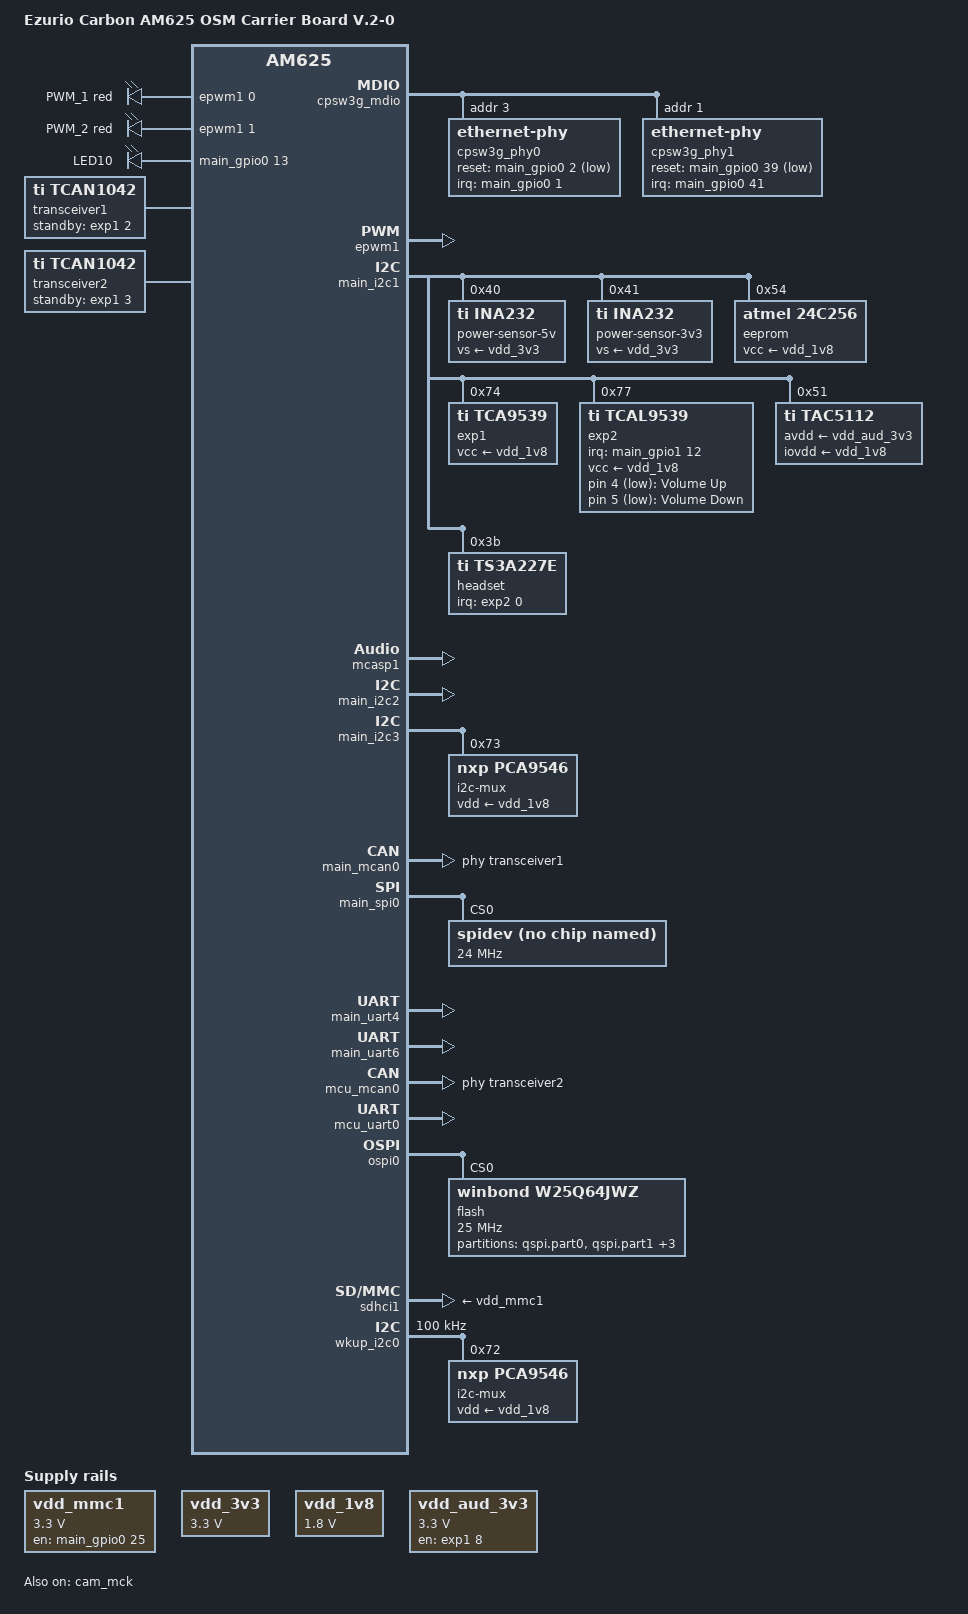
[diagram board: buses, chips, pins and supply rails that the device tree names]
// SPDX-License-Identifier: GPL-2.0-or-later OR MIT
/*
 * Copyright 2024 Ezurio LLC
 *
 */

/dts-v1/;

#include <dt-bindings/leds/common.h>
#include <dt-bindings/input/linux-event-codes.h>
#include <dt-bindings/interrupt-controller/irq.h>
#include "k3-am625-carbon-som.dtsi"

/ {
	model = "Ezurio Carbon AM625 OSM Carrier Board V.2-0";
	compatible = "ezurio,am62-dev",
		     "ti,am625";

	vdd_mmc1: regulator-sdio-a {
		bootph-all;
		compatible = "regulator-fixed";
		pinctrl-names = "default";
		pinctrl-0 = <&main_vdd_sdio_a_gpio>;
		regulator-name = "vdd_mmc1";
		regulator-min-microvolt = <3300000>;
		regulator-max-microvolt = <3300000>;
		startup-delay-us = <100000>;
		regulator-boot-on;
		enable-active-high;
		gpio = <&main_gpio0 25 GPIO_ACTIVE_HIGH>;
	};

	vdd_3v3: regulator-u4-sw2 {
		/* output of U4 */
		bootph-all;
		compatible = "regulator-fixed";
		regulator-name = "vdd_3v3";
		regulator-min-microvolt = <3300000>;
		regulator-max-microvolt = <3300000>;
		regulator-always-on;
		regulator-boot-on;
	};

	vdd_1v8: regulator-u4-sw3 {
		/* output of U4 */
		bootph-all;
		compatible = "regulator-fixed";
		regulator-name = "vdd_1v8";
		regulator-min-microvolt = <1800000>;
		regulator-max-microvolt = <1800000>;
		regulator-always-on;
		regulator-boot-on;
	};

	vdd_aud_3v3: regulator-aud-pwr {
		compatible = "regulator-fixed";
		regulator-name = "vdd_aud_3v3";
		regulator-min-microvolt = <3300000>;
		regulator-max-microvolt = <3300000>;
		enable-active-high;
		gpio = <&exp1 8 GPIO_ACTIVE_HIGH>;
	};

	codec_audio: sound {
		compatible = "simple-audio-card";
		status = "okay";

		simple-audio-card,bitclock-master = <&dailink0_master>;
		simple-audio-card,frame-master = <&dailink0_master>;

		simple-audio-card,name = "ti,tac5x1x-soundcard";
		simple-audio-card,format = "i2s";

		simple-audio-card,widgets =
			"Headphone", "Headphone Jack",
			"Line",      "Line In",
			"Line",      "Line Out";

		simple-audio-card,routing =
			"Headphone Jack", "OUT1",
			"Headphone Jack", "OUT2",
			"AIN1", "Line In",
			"AIN2", "Line In",
			"Line Out", "OUT1",
			"Line Out", "OUT2";

		simple-audio-card,aux-devs = <&headset>;

		dailink0_master: simple-audio-card,cpu {
			sound-dai = <&mcasp1>;
			bitclock-master;
			frame-master;
			system-clock-direction-out;
		};

		simple-audio-card,codec {
			sound-dai = <&tac5112>;
		};
	};

	audio_volume {
		compatible = "gpio-keys";

		volume-up {
			label = "Volume Up";
			gpios = <&exp2 4 (GPIO_ACTIVE_LOW | GPIO_PULL_UP)>;
			linux,code = <KEY_VOLUMEUP>;
		};

		volume-down {
			label = "Volume Down";
			gpios = <&exp2 5 (GPIO_ACTIVE_LOW | GPIO_PULL_UP)>;
			linux,code = <KEY_VOLUMEDOWN>;
		};
	};

	leds {
		compatible = "pwm-leds";

		/* For H/W test */

		pwm_1: led-1 {
			function = LED_FUNCTION_STATUS;
			label = "PWM_1";
			color = <LED_COLOR_ID_RED>;
			max-brightness = <248>;
			pwms = <&epwm1 0 30000 0>; /* 3.3 KHz */
		};

		pwm_2: led-2 {
			function = LED_FUNCTION_STATUS;
			label = "PWM_2";
			color = <LED_COLOR_ID_RED>;
			max-brightness = <248>;
			pwms = <&epwm1 1 30000 0>; /* 3.3 KHz */
		};

#if 0
		/* disable cam_mck before enabling this */
		test_cam_mck: cam-mck {
			function = LED_FUNCTION_STATUS;
			label = "CAM_MCK";
			color = <LED_COLOR_ID_RED>;
			max-brightness = <248>;
			pwms = <&ecap2 0 50 0>; /* 1 / 50 ns = 20 MHz */
		};
#endif
	};

	gpio-leds {
		compatible = "gpio-leds";

		led-0 {
			pinctrl-names = "default";
			pinctrl-0 = <&main_led_gpio_default>;
			gpios = <&main_gpio0 13 GPIO_ACTIVE_HIGH>;
			linux,default-trigger = "heartbeat";
			function = LED_FUNCTION_HEARTBEAT;
			label = "LED10";
			default-state = "on";
		};
	};

	transceiver1: can-phy0 {
		compatible = "ti,tcan1042";
		#phy-cells = <0>;
		max-bitrate = <5000000>;
		standby-gpios = <&exp1 2 GPIO_ACTIVE_HIGH>; /* TCAN1046 STB */
	};

	transceiver2: can-phy1 {
		compatible = "ti,tcan1042";
		#phy-cells = <0>;
		max-bitrate = <5000000>;
		standby-gpios = <&exp1 3 GPIO_ACTIVE_HIGH>; /* TCAN1046 STB */
	};
};

&cam_mck {
	status = "okay";
};

&cpsw3g_mdio {
	status = "okay";

	cpsw3g_phy0: ethernet-phy@3 {
		reg = <3>;
		pinctrl-names = "default";
		pinctrl-0 = <&main_rgmii_phy0_gpio>;
		interrupt-parent = <&main_gpio0>;
		interrupts = <1 IRQ_TYPE_EDGE_FALLING>;
		reset-gpios = <&main_gpio0 2 GPIO_ACTIVE_LOW>;
		reset-assert-us = <25>;
		reset-deassert-us = <60000>; /* T2 */
		ti,rx-internal-delay = <DP83867_RGMIIDCTL_2_25_NS>;
		ti,tx-internal-delay = <DP83867_RGMIIDCTL_2_00_NS>;
		ti,fifo-depth = <DP83867_PHYCR_FIFO_DEPTH_4_B_NIB>;
		ti,clk-output-sel = <DP83867_CLK_O_SEL_OFF>;
	};

	cpsw3g_phy1: ethernet-phy@1 {
		reg = <1>;
		pinctrl-names = "default";
		pinctrl-0 = <&main_rgmii_phy1_gpio>;
		interrupt-parent = <&main_gpio0>;
		interrupts = <41 IRQ_TYPE_EDGE_FALLING>;
		reset-gpios = <&main_gpio0 39 GPIO_ACTIVE_LOW>;
		reset-assert-us = <25>;
		reset-deassert-us = <60000>; /* T2 */
		ti,rx-internal-delay = <DP83867_RGMIIDCTL_2_25_NS>;
		ti,tx-internal-delay = <DP83867_RGMIIDCTL_2_00_NS>;
		ti,fifo-depth = <DP83867_PHYCR_FIFO_DEPTH_4_B_NIB>;
		ti,clk-output-sel = <DP83867_CLK_O_SEL_OFF>;
	};
};

&epwm1 {
	status = "okay";
};

&main_gpio0 {
	pinctrl-names = "default";
	pinctrl-0 = <&main_gpio0_hog_pins_default>; /* Just Muxing them to a GPIO */
};

&main_i2c1 { /* I2C_A */
	status = "okay";

	power-sensor-5v@40 {
		compatible = "ti,ina232"; /* TI, INA232AIDDFR */
		reg = <0x40>;
		vs-supply = <&vdd_3v3>;
		shunt-resistor = <33000>; /* 0.033 Ohms */
	};

	power-sensor-3v3@41 {
		compatible = "ti,ina232"; /* TI, INA232AIDDFR */
		reg = <0x41>;
		vs-supply = <&vdd_3v3>;
		shunt-resistor = <33000>; /* 0.033 Ohms */
	};

	eeprom@54 {
		/* U53 Giantec, GT24C256C-2GLI-TR */
		compatible = "atmel,24c256";
		reg = <0x54>;
		vcc-supply = <&vdd_1v8>;
	};

	exp1: gpio@74 {
		compatible = "ti,tca9539";
		vcc-supply = <&vdd_1v8>;
		reg = <0x74>;
		#gpio-cells = <2>;
		gpio-controller;

		gpio-line-names = "USB_C_OEn_P00", "USB_D_OEn_P01",
			"CAN_A_STB", "CAN_B_STB", "M2_WDISABLE1_EXP",
			"M2_WDISABLE2_EXP", "M2_WL_DEVICE_WAKEUP",
			"M2_BT_DEVICE_WAKEUP",
			"AUD_PWR_EN",	"M2_Vendor_DF38", "M2_SD_nRST",
			"CHGR_CEn", "M2_Power_EN", "SDIO_A_SWITCH_EN",
			"SDIO_A_SEL", "";

		/* Force SDIO_A_SEL output-low for SDCARD, high for M.2 */
		sdio_a_sel_hog: sdio-a-sel-hog {
			/* SDIO_A_SEL U51 P10 */
			gpio-hog;
			gpios = <&exp1 14 GPIO_ACTIVE_HIGH>;
			output-low;
			line-name = "SDIO_A_SEL_SDCARD";
		};
	};

	exp2: gpio@77 {
		compatible = "ti,tcal9539";
		vcc-supply = <&vdd_1v8>;
		pinctrl-names = "default";
		pinctrl-0 = <&main_exp2_pins_default>;
		reg = <0x77>;
		#interrupt-cells = <2>;
		interrupt-controller;
		interrupts-extended = <&main_gpio1 12 IRQ_TYPE_EDGE_FALLING>; /* expander_INT USB_A_PD_RST / GPIO_A_3 */
		#gpio-cells = <2>;
		gpio-controller;

		gpio-line-names = "ACD_nINT", "M2_UART_WAKE",
			"M2_SD_HOST_WAKEUP", "CHGR_INTn",
			"VOL_UP", "VOL_DOWN",
			"", "",
			"LVDS_C_INT", "LVDS_C_HPD",
			"LVDS_D_INT", "LVDS_D_HPD",
			"LVDS_E_INT", "LVDS_E_HPD",
			"RGB_INT", "RGB_HDMI_HPD";
	};

	tac5112: audio-codec@51 {
		/* U19, TI, XTAC5112IRGER */
		#sound-dai-cells = <0>;
		compatible = "ti,tac5112";
		reg = <0x51>;

		ti,vref = <0>;  /* 2.75V */
		ti,micbias-vg = <0>; /* same as Vref */
		ti,gpios-func = <0>, <0>, <0>; /* GPIOx - Disable */
		ti,gpi1-func = <0>; /* TAC5X1X_GPIO_DISABLE */

		ti,gpios-drive = <0>, <0>, <0>; /* Hi-Z Output */
		ti,gpa-gpio = <0>; /* GPA using GPIO1 is disabled */
		ti,gpa-threshold = <75>, <186>; /* GPA Low and High threshold Values */

		avdd-supply = <&vdd_aud_3v3>;
		iovdd-supply = <&vdd_1v8>;
	};

	headset: ts3a227e@3b {
		/* U20, TI, TS3A227ERVAR */
		compatible = "ti,ts3a227e";
		reg = <0x3b>;

		interrupts-extended = <&exp2 0 IRQ_TYPE_EDGE_FALLING>; /* ACD_nINT */
		ti,micbias = <6>; /* 2.7V, must match mic bias from codec */
	};

};

&mcasp1 {
	status = "okay";
};

&main_i2c2 { /* I2C_B / I2C_B_MCU / J 25 */
	status = "okay";
};

&main_i2c3 { /* I2C_CAM / I2C_D_ALT / J 21 */
	status = "okay";
};

&main_i2c3 { /* I2C_CAM */
	status = "okay";

	i2c-mux@73 {
		compatible = "nxp,pca9546"; /* U34 TCA9546APWR */
		reg = <0x73>;
		vdd-supply = <&vdd_1v8>;
		#address-cells = <1>;
		#size-cells = <0>;

		i2c_cam_a: i2-cam-a@0 {
			reg = <0>;
			#address-cells = <1>;
			#size-cells = <0>;
		};

		i2c_cam_b: i2-cam-b@1 {
			reg = <1>;
			#address-cells = <1>;
			#size-cells = <0>;
		};

		i2c_cam_c: i2-cam-c@2 {
			reg = <2>;
			#address-cells = <1>;
			#size-cells = <0>;
		};

		i2c_cam_d: i2-cam-d@3 {
			reg = <3>;
			#address-cells = <1>;
			#size-cells = <0>;
		};

	};
};

&main_mcan0 { /* CAN_A */
	status = "okay";
	phys = <&transceiver1>;
};

&main_pmx0 {

	main_exp2_pins_default: main-exp2-default-pins {
		pinctrl-single,pins = <
			AM62X_IOPAD(0x01a8, PIN_INPUT, 7) /* GPIO_A_3 (D20) MCASP0_AFSX.GPIO1_12 */
		>;
	};

	main_gpio0_hog_pins_default: main-gpio0-hog-default-pins {
		pinctrl-single,pins = <
			AM62X_IOPAD(0x0048, PIN_INPUT, 7) /* (N25) GPMC0_AD3.GPIO0_18 */
			AM62X_IOPAD(0x0044, PIN_INPUT, 7) /* GPIO_B_7 (N24) GPMC0_AD2.GPIO0_17 */
			AM62X_IOPAD(0x004c, PIN_INPUT, 7) /* GPIO_C_2 (P24) GPMC0_AD4.GPIO0_19 */
			AM62X_IOPAD(0x0068, PIN_INPUT, 7) /* GPIO_C_6 (R21) GPMC0_AD11.GPIO0_26 */
			AM62X_IOPAD(0x0074, PIN_INPUT, 7) /* GPIO_C_7 (U25) GPMC0_AD14.GPIO0_29 */
			AM62X_IOPAD(0x0078, PIN_INPUT, 7) /* GPIO_B_6 (U24) GPMC0_AD15.GPIO0_30 */
			AM62X_IOPAD(0x009c, PIN_INPUT, 7) /* GPIO_B_2 (V25) GPMC0_WAIT1.GPIO0_38 */
			AM62X_IOPAD(0x0088, PIN_INPUT, 7) /* RGB_RESET# (L24) GPMC0_OEn_REn.GPIO0_33 */
		>;
	};

	main_led_gpio_default: main-gpio-led-default-pins {
		pinctrl-single,pins = <
			AM62X_IOPAD(0x0034, PIN_INPUT, 7) /* (H21) OSPI0_CSn2.GPIO0_13 */
		>;
	};

	main_rgmii_phy0_gpio: main-rgmii-phy0-gpio-default-pins {
		bootph-all;
		pinctrl-single,pins = <
			AM62X_IOPAD(0x0008, PIN_INPUT_PULLDOWN, 7) /* ETH_A_RST (J24) OSPI0_DQS.GPIO0_2 */
			AM62X_IOPAD(0x0004, PIN_INPUT_PULLDOWN, 7) /* ETH_A_INT (G25) OSPI0_LBCLKO.GPIO0_1 */
		>;
	};

	main_rgmii_phy1_gpio: main-rgmii-phy1-gpio-default-pins {
		bootph-all;
		pinctrl-single,pins = <
			AM62X_IOPAD(0x00a0, PIN_INPUT, 7) /* ETH_B_RST (K25) GPMC0_WPn.GPIO0_39 */
			AM62X_IOPAD(0x00a8, PIN_INPUT, 7) /* ETH_B_INT(M21) GPMC0_CSn0.GPIO0_41 */
		>;
	};

	main_vdd_sdio_a_gpio: main-vdd-sdio-a-default-pins {
		bootph-all;
		pinctrl-single,pins = <
			AM62X_IOPAD(0x0064, PIN_INPUT, 7) /* SDIO_A_PWR_EN GPIO_C_3 (T25) GPMC0_AD10.GPIO0_25 */
		>;
	};
};

&main_spi0 { /* SPI_B */
	status = "okay";

	spidev@0 {
		compatible = "rohm,dh2228fv";
		spi-max-frequency = <24000000>;
		reg = <0>;
	};
};

&main_uart4 { /* UART_D */
	status = "okay";
};

&main_uart6 { /* UART_A */
	status = "okay";
};

&mcu_mcan0 { /* CAN_B */
	status = "okay";
	phys = <&transceiver2>;
};

&mcu_pmx0 {
	wkupi2c1_pins_default: mywkupi2c1-default-pins {
		pinctrl-single,pins = <
			AM62X_MCU_IOPAD(0x004c, PIN_INPUT_PULLUP, 0) /* GPIO_B_4 (B9) WKUP_I2C0_SCL */
			AM62X_MCU_IOPAD(0x0050, PIN_INPUT_PULLUP, 0) /* GPIO_B_5 (A9) WKUP_I2C0_SDA */
		>;
	};
};

&mcu_uart0 { /* UART_B */
	status = "okay";
};

&ospi0 { /* SPI_A Used as a qSPI */
	status = "okay";

	flash@0 {
		compatible = "winbond,w25q64jwz", "jedec,spi-nor";
		reg = <0>;
		spi-rx-bus-width = <4>;
		spi-tx-bus-width = <4>;
		spi-max-frequency = <25000000>;
		cdns,tshsl-ns = <60>;
		cdns,tsd2d-ns = <60>;
		cdns,tchsh-ns = <60>;
		cdns,tslch-ns = <60>;
		cdns,read-delay = <4>;

		partitions {
			bootph-all;
			compatible = "fixed-partitions";
			#address-cells = <1>;
			#size-cells = <1>;

			/* TODO Define usage / partitions */
			partition@0 {
				label = "qspi.part0";
				reg = <0x0 0x80000>;
			};

			partition@80000 {
				label = "qspi.part1";
				reg = <0x80000 0x200000>;
			};

			partition@280000 {
				label = "qspi.part2";
				reg = <0x280000 0x400000>;
			};

			partition@680000 {
				label = "qspi.part3";
				reg = <0x680000 0x40000>;
			};

			partition@6c0000 {
				label = "qspi.part4";
				reg = <0x6c0000 0x40000>;
			};

		};
	};
};

&sdhci1 { /* SDIO_A uSD / M.2_SDIO */
	status = "okay";
	vmmc-supply = <&vdd_mmc1>; /* SDIO_A_PWR_EN */
	vqmmc-supply = <&vdd_sd>; /* VSEL_SD */
	disable-wp; // MMC1_SDWP is just pulled down, so lets not use this.
};

&wkup_i2c0 { /* I2C_C */
	status = "okay";		/* TODO HW changes */
	pinctrl-names = "default";
	pinctrl-0 = <&wkupi2c1_pins_default>;
	clock-frequency = <100000>;

	i2c-mux@72 {
		compatible = "nxp,pca9546"; /* U34 TCA9546APWR */
		reg = <0x72>;
		vdd-supply = <&vdd_1v8>;
		#address-cells = <1>;
		#size-cells = <0>;

		i2c_port_c: i2-c-port-c@0 {
			reg = <0>;
			#address-cells = <1>;
			#size-cells = <0>;
		};

		i2c_port_d: i2-c-port-d@1 {
			reg = <1>;
			#address-cells = <1>;
			#size-cells = <0>;
		};

		i2c_port_e: i2-c-port-e@2 {
			reg = <2>;
			#address-cells = <1>;
			#size-cells = <0>;
		};

		i2c_port_rgb: i2-c-port-rgb@3 {
			reg = <3>;
			#address-cells = <1>;
			#size-cells = <0>;
		};
	};
};
